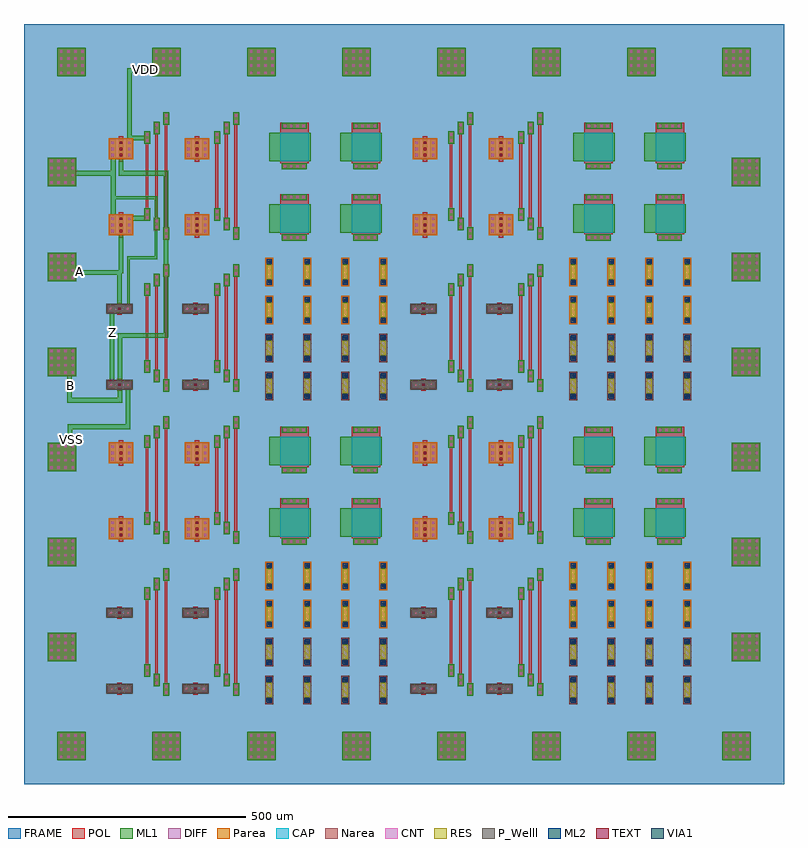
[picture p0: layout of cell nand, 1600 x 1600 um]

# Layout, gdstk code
from math import pi, radians
import gdstk
lib = gdstk.Library(unit=1e-6, precision=1e-09)
def R(c, l, rs):  # rectangles x0, y0, x1, y1
    for r in rs: c.add(gdstk.rectangle(r[:2], r[2:], *l))
DIFF = (3, 0)
POL = (5, 0)
CNT = (7, 0)
ML1 = (8, 0)
VIA1 = (9, 0)
ML2 = (10, 0)
TEXT = (13, 0)
FRAME = (14, 0)
RES = (15, 0)
CAP = (16, 0)
Parea = (18, 0)
Narea = (19, 0)
P_Welll = (21, 0)

c_16_5x5_flame = lib.new_cell('16_5x5_flame')
R(c_16_5x5_flame, FRAME, [(-800,-800,800,800), (-750,-750,750,750)])

dcont = lib.new_cell('dcont')
R(dcont, DIFF, [(-6.5,-6.5,6.5,6.5)])
R(dcont, CNT, [(-2.5,-2.5,2.5,2.5)])
R(dcont, ML1, [(-6.5,-6.5,6.5,6.5)])

pcont_min = lib.new_cell('pcont_min')
R(pcont_min, POL, [(-4.5,-6.5,4.5,6.5)])
R(pcont_min, CNT, [(-2.5,-2.5,2.5,2.5)])
R(pcont_min, ML1, [(-4.5,-6.5,4.5,6.5)])
R(pcont_min, TEXT, [(-2.5,-2.5,2.5,2.5)])

pch_1 = lib.new_cell('Pch$1')
R(pch_1, DIFF, [(0,17,48,57)])
R(pch_1, Parea, [(-2,15,50,59)])
pch_1.add(gdstk.FlexPath([(6.5,17),(6.5,57)], 13, ends="flush", simple_path=True, layer=8, datatype=0))  # ML1
pch_1.add(gdstk.FlexPath([(41.5,17),(41.5,57)], 13, ends="flush", simple_path=True, layer=8, datatype=0))  # ML1
pch_1.add(gdstk.FlexPath([(24,17),(24,57)], 10, ends=(6.5, 6.5), simple_path=True, layer=5, datatype=0))  # POL
pch_1.add(gdstk.Reference(dcont, (6.5,24)))
pch_1.add(gdstk.Reference(dcont, (6.5,37)))
pch_1.add(gdstk.Reference(dcont, (6.5,50)))
pch_1.add(gdstk.Reference(dcont, (41.5,24)))
pch_1.add(gdstk.Reference(dcont, (41.5,37)))
pch_1.add(gdstk.Reference(dcont, (41.5,50)))
pch_1.add(gdstk.Reference(pcont_min, (24,24)))
pch_1.add(gdstk.Reference(pcont_min, (24,37)))
pch_1.add(gdstk.Reference(pcont_min, (24,50)))

tin_m1 = lib.new_cell('tin_M1')
R(tin_m1, POL, [(-7,-7,6,6)])
R(tin_m1, CNT, [(-3,-3,2,2)])
R(tin_m1, ML1, [(-7,-7,6,6)])

v_tin_line3 = lib.new_cell('V_tin_line3')
v_tin_line3.add(gdstk.FlexPath([(-21,74),(-21,-74)], 6, ends="extended", simple_path=True, layer=5, datatype=0))  # POL
v_tin_line3.add(gdstk.FlexPath([(-1,94),(-1,-94)], 6, ends="extended", simple_path=True, layer=5, datatype=0))  # POL
v_tin_line3.add(gdstk.FlexPath([(19,114),(19,-114)], 6, ends="extended", simple_path=True, layer=5, datatype=0))  # POL
r = gdstk.Reference(tin_m1, (-21,74), rotation=pi); r.repetition = gdstk.Repetition(2, 3, v1=(0,13), v2=(20,20)); v_tin_line3.add(r)
r = gdstk.Reference(tin_m1, (-21,-88), rotation=pi); r.repetition = gdstk.Repetition(2, 3, v1=(0,13), v2=(20,-20)); v_tin_line3.add(r)

pmos_array = lib.new_cell('pmos_array')
R(pmos_array, FRAME, [(-160,-160,160,160)])
r = gdstk.Reference(pch_1, (-140,-140)); r.repetition = gdstk.Repetition(2, 2, v1=(160,0), v2=(0,160)); pmos_array.add(r)
pmos_array.add(gdstk.Reference(v_tin_line3, (-40,0)))
pmos_array.add(gdstk.Reference(v_tin_line3, (107,0)))

nch_1 = lib.new_cell('Nch$1')
R(nch_1, DIFF, [(0,18.5,48,28.5)])
R(nch_1, Narea, [(-2,15,50,32)])
R(nch_1, P_Welll, [(-4,13,52,34)])
nch_1.add(gdstk.FlexPath([(6.5,17),(6.5,30)], 13, ends="flush", simple_path=True, layer=8, datatype=0))  # ML1
nch_1.add(gdstk.FlexPath([(41.5,17),(41.5,30)], 13, ends="flush", simple_path=True, layer=8, datatype=0))  # ML1
nch_1.add(gdstk.FlexPath([(24,17),(24,30)], 10, ends=(6.5, 6.5), simple_path=True, layer=5, datatype=0))  # POL
nch_1.add(gdstk.Reference(dcont, (6.5,23.5)))
nch_1.add(gdstk.Reference(dcont, (41.5,23.5)))
nch_1.add(gdstk.Reference(pcont_min, (24,23.5)))

nmos_array = lib.new_cell('nmos_array')
R(nmos_array, FRAME, [(-160,-160,160,160)])
r = gdstk.Reference(nch_1, (-143,-143)); r.repetition = gdstk.Repetition(2, 2, v1=(160,0), v2=(0,160)); nmos_array.add(r)
nmos_array.add(gdstk.Reference(v_tin_line3, (-40,0)))
nmos_array.add(gdstk.Reference(v_tin_line3, (107,0)))

via = lib.new_cell('Via')
R(via, ML1, [(-6.5,-6.5,6.5,6.5)])
R(via, VIA1, [(-2.5,-2.5,2.5,2.5)])
R(via, ML2, [(-5,-5,5,5)])
R(via, TEXT, [(-2.5,-2.5,2.5,2.5)])

r_ndiff = lib.new_cell('R_ndiff')
R(r_ndiff, Narea, [(-2,-2,15,58)])
r_ndiff.add(gdstk.FlexPath([(6.5,0),(6.5,56)], 10, ends="flush", simple_path=True, layer=3, datatype=0))  # DIFF
r_ndiff.add(gdstk.FlexPath([(6.5,13),(6.5,43)], 10, ends="flush", simple_path=True, layer=15, datatype=0))  # RES
r_ndiff.add(gdstk.Reference(dcont, (6.5,6.5), rotation=pi/2))
r_ndiff.add(gdstk.Reference(via, (6.5,6.5)))
r_ndiff.add(gdstk.Reference(dcont, (6.5,49.5), rotation=pi/2))
r_ndiff.add(gdstk.Reference(via, (6.5,49.5)))

r_pdiff_1 = lib.new_cell('R_pdiff$1')
R(r_pdiff_1, Parea, [(-2,-2,15,58)])
r_pdiff_1.add(gdstk.FlexPath([(6.5,0),(6.5,56)], 10, ends="flush", simple_path=True, layer=3, datatype=0))  # DIFF
r_pdiff_1.add(gdstk.FlexPath([(6.5,13),(6.5,43)], 10, ends="flush", simple_path=True, layer=15, datatype=0))  # RES
r_pdiff_1.add(gdstk.Reference(dcont, (6.5,6.5), rotation=pi/2))
r_pdiff_1.add(gdstk.Reference(via, (6.5,6.5)))
r_pdiff_1.add(gdstk.Reference(dcont, (6.5,49.5), rotation=pi/2))
r_pdiff_1.add(gdstk.Reference(via, (6.5,49.5)))

resistor_array = lib.new_cell('resistor_array')
R(resistor_array, FRAME, [(-160,-160,160,160)])
r = gdstk.Reference(r_ndiff, (-130,-150)); r.repetition = gdstk.Repetition(4, 2, v1=(80,0), v2=(0,80)); resistor_array.add(r)
r = gdstk.Reference(r_pdiff_1, (-130,10)); r.repetition = gdstk.Repetition(4, 2, v1=(80,0), v2=(0,80)); resistor_array.add(r)

tin_cap = lib.new_cell('TIN_cap')
R(tin_cap, POL, [(23.5,-4,83.5,81)])
R(tin_cap, ML1, [(0,0,87.5,60)])
R(tin_cap, CAP, [(23.5,0,83.5,60)])

cap_con = lib.new_cell('cap_con')
cap_con.add(gdstk.Reference(tin_cap, (-44,-39)))
r = gdstk.Reference(tin_m1, (28,35), rotation=pi); r.repetition = gdstk.Repetition(4, 1, v1=(-13,0), v2=(0,0)); cap_con.add(r)
r = gdstk.Reference(tin_m1, (28,-50), rotation=pi); r.repetition = gdstk.Repetition(4, 1, v1=(-13,0), v2=(0,0)); cap_con.add(r)

tin_m1_cap_array = lib.new_cell('tin_m1_cap_array')
R(tin_m1_cap_array, FRAME, [(-160,-160,160,160)])
r = gdstk.Reference(cap_con, (-80,-80)); r.repetition = gdstk.Repetition(2, 2, v1=(150,0), v2=(0,150)); tin_m1_cap_array.add(r)

base_array = lib.new_cell('base_array')
base_array.add(gdstk.Reference(pmos_array, (-160,160)))
base_array.add(gdstk.Reference(nmos_array, (-160,-160)))
base_array.add(gdstk.Reference(resistor_array, (160,-160)))
base_array.add(gdstk.Reference(tin_m1_cap_array, (160,160)))

pad_60_m1_tin = lib.new_cell('pad_60_m1_tin')
R(pad_60_m1_tin, POL, [(-30,-30,30,30), (-30,-30,30,30)])
R(pad_60_m1_tin, ML1, [(-30,-30,30,30)])
r = gdstk.Reference(tin_m1, (22,-23), rotation=pi/2); r.repetition = gdstk.Repetition(4, 4, v1=(0,15), v2=(-15,0)); pad_60_m1_tin.add(r)

base_rev0_92 = lib.new_cell('base_Rev0.92')
base_rev0_92.add(gdstk.Reference(c_16_5x5_flame, (0,0)))
r = gdstk.Reference(base_array, (-320,-320)); r.repetition = gdstk.Repetition(2, 2, v1=(640,0), v2=(0,640)); base_rev0_92.add(r)
r = gdstk.Reference(pad_60_m1_tin, (700,720), rotation=pi/2); r.repetition = gdstk.Repetition(1, 8, v1=(0,0), v2=(-200,0)); base_rev0_92.add(r)
r = gdstk.Reference(pad_60_m1_tin, (700,-720), rotation=pi/2); r.repetition = gdstk.Repetition(1, 8, v1=(0,0), v2=(-200,0)); base_rev0_92.add(r)
r = gdstk.Reference(pad_60_m1_tin, (-720,488), rotation=pi); r.repetition = gdstk.Repetition(1, 6, v1=(0,0), v2=(0,-200)); base_rev0_92.add(r)
r = gdstk.Reference(pad_60_m1_tin, (720,488), rotation=pi); r.repetition = gdstk.Repetition(1, 6, v1=(0,0), v2=(0,-200)); base_rev0_92.add(r)
base_rev0_92.add(gdstk.Label('Y', (-696.5,515.1), layer=8, texttype=0))

nand = lib.new_cell('nand')
nand.add(gdstk.FlexPath([(268,-397),(268,-279),(365,-279),(365,63),(270,63),(270,111)], 10, ends="flush", simple_path=True, layer=8, datatype=0))  # ML1
nand.add(gdstk.FlexPath([(286,-218),(286,-115),(344,-115),(344,11),(254,11)], 6, ends="flush", simple_path=True, layer=8, datatype=0))  # ML1
nand.add(gdstk.FlexPath([(267,-223),(267,-146),(156,-146)], 10, ends="flush", simple_path=True, layer=8, datatype=0))  # ML1
nand.add(gdstk.FlexPath([(268,-385),(268,-415),(162,-415),(162,-344)], 10, ends="flush", simple_path=True, layer=8, datatype=0))  # ML1
nand.add(gdstk.FlexPath([(251,-224),(251,-385)], 10, ends="flush", simple_path=True, layer=8, datatype=0))  # ML1
nand.add(gdstk.FlexPath([(285,-387),(285,-471),(163,-471),(163,-520)], 10, ends="flush", simple_path=True, layer=8, datatype=0))  # ML1
nand.add(gdstk.FlexPath([(349,279),(288,279),(288,117)], 10, ends="flush", simple_path=True, layer=8, datatype=0))  # ML1
nand.add(gdstk.FlexPath([(254,105),(254,-43)], 10, ends="flush", simple_path=True, layer=8, datatype=0))  # ML1
nand.add(gdstk.FlexPath([(270,-148),(270,-58)], 10, ends="flush", simple_path=True, layer=8, datatype=0))  # ML1
nand.add(gdstk.FlexPath([(288,-32),(325,-32)], 10, ends="flush", simple_path=True, layer=8, datatype=0))  # ML1
nand.add(gdstk.FlexPath([(326,137),(290,137)], 10, ends="flush", simple_path=True, layer=8, datatype=0))  # ML1
nand.add(gdstk.FlexPath([(255,63),(162,63)], 10, ends="flush", simple_path=True, layer=8, datatype=0))  # ML1
nand.add(gdstk.Reference(base_rev0_92, (866,-423)))
nand.add(gdstk.Label('Z', (252.4,-271.7), layer=8, texttype=0))
nand.add(gdstk.Label('VDD', (322,280.6), layer=8, texttype=0))
nand.add(gdstk.Label('A', (182,-144.4), layer=8, texttype=0))
nand.add(gdstk.Label('B', (164,-384.4), layer=8, texttype=0))
nand.add(gdstk.Label('VSS', (167,-497.4), layer=8, texttype=0))

lib.write_gds('nand.gds')
